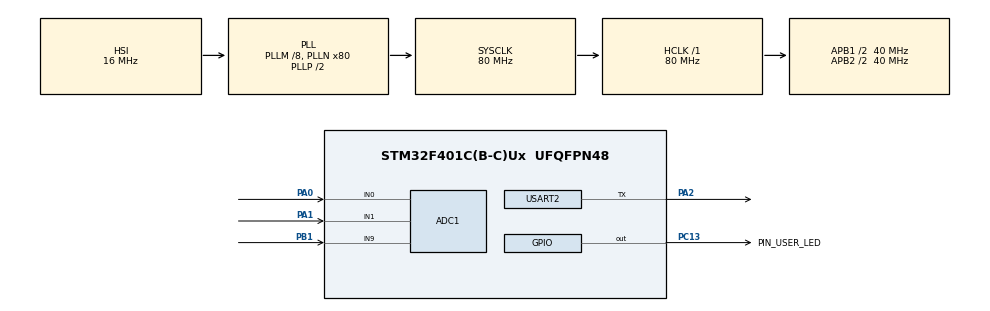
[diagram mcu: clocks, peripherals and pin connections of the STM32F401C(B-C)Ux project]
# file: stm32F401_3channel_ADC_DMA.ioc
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ADC1.Channel-0\#ChannelRegularConversion=ADC_CHANNEL_0
ADC1.Channel-1\#ChannelRegularConversion=ADC_CHANNEL_1
ADC1.Channel-2\#ChannelRegularConversion=ADC_CHANNEL_9
ADC1.Channel-3\#ChannelRegularConversion=ADC_CHANNEL_TEMPSENSOR
ADC1.ClockPrescaler=ADC_CLOCK_SYNC_PCLK_DIV4
ADC1.ContinuousConvMode=ENABLE
ADC1.DMAContinuousRequests=ENABLE
ADC1.EOCSelection=ADC_EOC_SEQ_CONV
ADC1.NbrOfConversion=4
ADC1.NbrOfConversionFlag=1
ADC1.Rank-0\#ChannelRegularConversion=1
ADC1.Rank-1\#ChannelRegularConversion=2
ADC1.Rank-2\#ChannelRegularConversion=3
ADC1.Rank-3\#ChannelRegularConversion=4
ADC1.SamplingTime-0\#ChannelRegularConversion=ADC_SAMPLETIME_28CYCLES
ADC1.SamplingTime-1\#ChannelRegularConversion=ADC_SAMPLETIME_28CYCLES
ADC1.SamplingTime-2\#ChannelRegularConversion=ADC_SAMPLETIME_28CYCLES
ADC1.SamplingTime-3\#ChannelRegularConversion=ADC_SAMPLETIME_112CYCLES
ADC1.master=1
Dma.ADC1.0.Direction=DMA_PERIPH_TO_MEMORY
Dma.ADC1.0.FIFOMode=DMA_FIFOMODE_DISABLE
Dma.ADC1.0.Instance=DMA2_Stream0
Dma.ADC1.0.MemDataAlignment=DMA_MDATAALIGN_HALFWORD
Dma.ADC1.0.MemInc=DMA_MINC_ENABLE
Dma.ADC1.0.Mode=DMA_CIRCULAR
Dma.ADC1.0.PeriphDataAlignment=DMA_PDATAALIGN_HALFWORD
Dma.ADC1.0.PeriphInc=DMA_PINC_DISABLE
Dma.ADC1.0.Priority=DMA_PRIORITY_LOW
Dma.Request0=ADC1
Mcu.Family=STM32F4
Mcu.Name=STM32F401C(B-C)Ux
Mcu.Package=UFQFPN48
NVIC.DMA2_Stream0_IRQn=true\:0\:0\:false\:false\:true\:false\:true\:true
NVIC.PriorityGroup=NVIC_PRIORITYGROUP_4
PA0-WKUP.Signal=ADCx_IN0
PA1.Signal=ADCx_IN1
PA13.Mode=Serial_Wire
PA13.Signal=SYS_JTMS-SWDIO
PA14.Mode=Serial_Wire
PA14.Signal=SYS_JTCK-SWCLK
PA2.Mode=Half_duplex(single_wire_mode)
PA2.Signal=USART2_TX
PB1.Signal=ADCx_IN9
PC13-ANTI_TAMP.GPIO_Label=PIN_USER_LED
PC13-ANTI_TAMP.Signal=GPIO_Output
ProjectManager.HeapSize=0x200
ProjectManager.StackSize=0x400
ProjectManager.TargetToolchain=STM32CubeIDE
RCC.48MHZClocksFreq_Value=40000000
RCC.AHBFreq_Value=80000000
RCC.APB1CLKDivider=RCC_HCLK_DIV2
RCC.APB1Freq_Value=40000000
RCC.APB1TimFreq_Value=80000000
RCC.APB2CLKDivider=RCC_HCLK_DIV2
RCC.APB2Freq_Value=40000000
RCC.APB2TimFreq_Value=80000000
RCC.CortexFreq_Value=80000000
RCC.HCLKFreq_Value=80000000
RCC.HSE_VALUE=25000000
RCC.HSI_VALUE=16000000
RCC.LSE_VALUE=32768
RCC.PLLM=8
RCC.PLLN=80
RCC.SYSCLKFreq_VALUE=80000000
RCC.SYSCLKSource=RCC_SYSCLKSOURCE_PLLCLK
RCC.VCOOutputFreq_Value=160000000
SH.ADCx_IN0.0=ADC1_IN0,IN0
SH.ADCx_IN1.0=ADC1_IN1,IN1
SH.ADCx_IN9.0=ADC1_IN9,IN9
USART2.Mode=MODE_TX
USART2.Parity=PARITY_EVEN
USART2.VirtualMode=VM_ASYNC
VP_ADC1_TempSens_Input.Mode=IN-TempSens
board=custom

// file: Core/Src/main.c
/* USER CODE BEGIN Header */

// connect pin PA0 to GND, PA1 to half of 3.3V (10K and 10K), PA4 to 3.3V.
// these are 3 external ADC input channels.
// the internal temp sensor is the 4th ADC channel.
/**
 ******************************************************************************
 * @file           : main.c
 * @brief          : Main program body
 ******************************************************************************
 * @attention
 *
 * Copyright (c) 2022 STMicroelectronics.
 * All rights reserved.
 *
 * This software is licensed under terms that can be found in the LICENSE file
 * in the root directory of this software component.
 * If no LICENSE file comes with this software, it is provided AS-IS.
 *
 ******************************************************************************
 */
/* USER CODE END Header */
#include "main.h"

ADC_HandleTypeDef hadc1;
DMA_HandleTypeDef hdma_adc1;

UART_HandleTypeDef huart2;

void SystemClock_Config(void);
static void MX_GPIO_Init(void);
static void MX_DMA_Init(void);
static void MX_ADC1_Init(void);
static void MX_USART2_UART_Init(void);

/* USER CODE BEGIN 0 */

/* Private function prototypes -----------------------------------------------*/
#ifdef __GNUC__
/* With GCC, small printf (option LD Linker->Libraries->Small printf
 set to 'Yes') calls __io_putchar() */
#define PUTCHAR_PROTOTYPE int __io_putchar(int ch)
#else
#define PUTCHAR_PROTOTYPE int fputc(int ch, FILE *f)
#endif /* __GNUC__ */

//must have this to print in uart com port
PUTCHAR_PROTOTYPE {
	// Place your implementation of fputc here
	// e.g. write a character to the EVAL_COM1 and Loop until the end of transmission
	HAL_UART_Transmit(&huart2, (uint8_t*) &ch, 1, 0xFFFF);

	return ch;
}

#define ADC_BUF_LEN 4
uint16_t adc_buf[ADC_BUF_LEN];

// Called when first half of buffer is filled
void HAL_ADC_ConvCpltCallback(ADC_HandleTypeDef *hadc) {
	//HAL_GPIO_WritePin(GPIOC, PIN_USER_LED_Pin, GPIO_PIN_SET);
	//printf("HAL_ADC_ConvCpltCallback adc PA read  %hu\r\n",  adc_buf[0]);
	//printf("HAL_ADC_ConvCpltCallback\n\r");
	HAL_GPIO_WritePin(GPIOC, PIN_USER_LED_Pin, GPIO_PIN_RESET);
	show_adc_buf();
	HAL_GPIO_WritePin(GPIOC, PIN_USER_LED_Pin, GPIO_PIN_SET);

}

void HAL_ADC_ConvHalfCpltCallback(ADC_HandleTypeDef *hadc) {
	//HAL_GPIO_WritePin(GPIOC, PIN_USER_LED_Pin, GPIO_PIN_RESET);
	//printf("HAL_ADC_ConvHalfCpltCallback adc PA  read  %hu\r\n",  adc_buf[0]);

}

// only PA0, PA1, PA4 is defined as adc input channel.
// connect PA0 to GND, PA1 to mid point of 10K and 10K from 3.3V and GND, PA4 to 3.3V.
void select_ADC_Channel(uint32_t channel) {
	ADC_ChannelConfTypeDef sConfig = { 0 };
	/** Configure for the selected ADC regular channel its corresponding rank in the sequencer and its sample time.
	 */

	switch (channel) {
	case 0:
		channel = ADC_CHANNEL_0;
		break;
	case 1:
		channel = ADC_CHANNEL_1;
		break;
	case 2:
		channel = ADC_CHANNEL_4;
		break;
	default:
		return;
	}

	sConfig.Channel = channel;
	sConfig.Rank = 1;
	sConfig.SamplingTime = ADC_SAMPLETIME_84CYCLES;
	if (HAL_ADC_ConfigChannel(&hadc1, &sConfig) != HAL_OK) {
		Error_Handler();
	}

}

float adc_val_to_voltage(uint16_t adc_val) {
	float ADC_MAX = 4096.0;
	float Vref = 3.3;
	float adc_voltage = Vref * 1.0f * adc_val / ADC_MAX;
	return adc_voltage;
}

/*
 void HAL_TIM_PeriodElapsedCallback(TIM_HandleTypeDef *htim) {
 static GPIO_PinState led_val = 0;

 HAL_GPIO_WritePin(PIN_USER_LED_GPIO_Port, PIN_USER_LED_Pin, led_val);
 led_val = !led_val;

 }
 */

float adc_val_to_temp_sys(uint16_t adc_val) {

	float Vref = 3300;
	int temp = __LL_ADC_CALC_TEMPERATURE(Vref, adc_val, LL_ADC_RESOLUTION_12B);
	return temp;

}

float adc_val_to_temp(uint16_t adc_val) {
	const float V25 = 0.76, AVG_Slope = 0.002f;

	float adc_vol = adc_val_to_voltage(adc_val);
	float temp = (adc_vol - V25) / AVG_Slope + 25;
	return temp;
}

void show_adc_buf() {

	uint16_t temp_adc_val = adc_buf[3];
	// float temp = adc_val_to_temp(temp_adc_val );
	float temp = adc_val_to_temp(temp_adc_val );
	printf(" adc value: %u %u %u  %u  , temp: %.1f\n\r", adc_buf[0], adc_buf[1],
			adc_buf[2], adc_buf[3], temp);
	HAL_GPIO_WritePin(PIN_USER_LED_GPIO_Port, PIN_USER_LED_Pin, GPIO_PIN_SET);

}

/* USER CODE END 0 */

int main(void)
{
  /* USER CODE BEGIN 1 */
	memset(adc_buf, 0, ADC_BUF_LEN);
  /* USER CODE END 1 */

  /* MCU Configuration--------------------------------------------------------*/

  /* Reset of all peripherals, Initializes the Flash interface and the Systick. */
  HAL_Init();

  /* Configure the system clock */
  SystemClock_Config();

  /* Initialize all configured peripherals */
  MX_GPIO_Init();
  MX_DMA_Init();
  MX_ADC1_Init();
  MX_USART2_UART_Init();
  /* USER CODE BEGIN 2 */
	uint16_t *flashSizeF401Addr = (uint32_t*) 0x1FFF7A22;
	uint16_t flashSize = *flashSizeF401Addr;
  /* USER CODE END 2 */

  /* Infinite loop */
  /* USER CODE BEGIN WHILE */
	int channel = 0;
	if ( HAL_OK!= HAL_ADC_Start_DMA(&hadc1, (uint16_t*) adc_buf, ADC_BUF_LEN))
	{
       Error_Handler();
	}
	HAL_GPIO_WritePin(PIN_USER_LED_GPIO_Port, PIN_USER_LED_Pin, GPIO_PIN_SET);
	printf("about to while(1)\r\n");
	while (1) {

//printf("adc PA %i  read  %hu\r\n", channel, adc_buf[0]);

		// can also use USB as virtual com port to print: CDC_Transmit_FS((uint8_t *) "Hello World CDC !\n", 13); //We add this line for serial comm
		//HAL_GPIO_WritePin(PIN_USER_LED_GPIO_Port, PIN_USER_LED_Pin, GPIO_PIN_RESET);

		HAL_Delay(1000);
		//uint16_t temp_adc_val = adc_buf[3];
		/*float temp = 0;
		const float V25 = 0.76, AVG_Slope = 0.002f;

		float adc_vol = adc_val_to_voltage(temp_adc_val);
		temp = (adc_vol - V25) / AVG_Slope + 25;
		*/
		//float temp = adc_val_to_temp(temp_adc_val);
		//printf(" adc value: %u %u %u  %u  , temp: %.1f\n\r", adc_buf[0],
		//		adc_buf[1], adc_buf[2], adc_buf[3], temp);

		//HAL_GPIO_WritePin(PIN_USER_LED_GPIO_Port, PIN_USER_LED_Pin,GPIO_PIN_SET);
		HAL_Delay(1000);
		//channel++;
    /* USER CODE END WHILE */

	}
}

void SystemClock_Config(void)
{
  RCC_OscInitTypeDef RCC_OscInitStruct = {0};
  RCC_ClkInitTypeDef RCC_ClkInitStruct = {0};

  /** Configure the main internal regulator output voltage
  */
  __HAL_RCC_PWR_CLK_ENABLE();
  __HAL_PWR_VOLTAGESCALING_CONFIG(PWR_REGULATOR_VOLTAGE_SCALE2);

  /** Initializes the RCC Oscillators according to the specified parameters
  * in the RCC_OscInitTypeDef structure.
  */
  RCC_OscInitStruct.OscillatorType = RCC_OSCILLATORTYPE_HSI;
  RCC_OscInitStruct.HSIState = RCC_HSI_ON;
  RCC_OscInitStruct.HSICalibrationValue = RCC_HSICALIBRATION_DEFAULT;
  RCC_OscInitStruct.PLL.PLLState = RCC_PLL_ON;
  RCC_OscInitStruct.PLL.PLLSource = RCC_PLLSOURCE_HSI;
  RCC_OscInitStruct.PLL.PLLM = 8;
  RCC_OscInitStruct.PLL.PLLN = 80;
  RCC_OscInitStruct.PLL.PLLP = RCC_PLLP_DIV2;
  RCC_OscInitStruct.PLL.PLLQ = 4;
  if (HAL_RCC_OscConfig(&RCC_OscInitStruct) != HAL_OK)
  {
    Error_Handler();
  }

  /** Initializes the CPU, AHB and APB buses clocks
  */
  RCC_ClkInitStruct.ClockType = RCC_CLOCKTYPE_HCLK|RCC_CLOCKTYPE_SYSCLK
                              |RCC_CLOCKTYPE_PCLK1|RCC_CLOCKTYPE_PCLK2;
  RCC_ClkInitStruct.SYSCLKSource = RCC_SYSCLKSOURCE_PLLCLK;
  RCC_ClkInitStruct.AHBCLKDivider = RCC_SYSCLK_DIV1;
  RCC_ClkInitStruct.APB1CLKDivider = RCC_HCLK_DIV2;
  RCC_ClkInitStruct.APB2CLKDivider = RCC_HCLK_DIV2;

  if (HAL_RCC_ClockConfig(&RCC_ClkInitStruct, FLASH_LATENCY_2) != HAL_OK)
  {
    Error_Handler();
  }
}

static void MX_ADC1_Init(void)
{

  ADC_ChannelConfTypeDef sConfig = {0};

  /** Configure the global features of the ADC (Clock, Resolution, Data Alignment and number of conversion)
  */
  hadc1.Instance = ADC1;
  hadc1.Init.ClockPrescaler = ADC_CLOCK_SYNC_PCLK_DIV4;
  hadc1.Init.Resolution = ADC_RESOLUTION_12B;
  hadc1.Init.ScanConvMode = ENABLE;
  hadc1.Init.ContinuousConvMode = ENABLE;
  hadc1.Init.DiscontinuousConvMode = DISABLE;
  hadc1.Init.ExternalTrigConvEdge = ADC_EXTERNALTRIGCONVEDGE_NONE;
  hadc1.Init.ExternalTrigConv = ADC_SOFTWARE_START;
  hadc1.Init.DataAlign = ADC_DATAALIGN_RIGHT;
  hadc1.Init.NbrOfConversion = 4;
  hadc1.Init.DMAContinuousRequests = ENABLE;
  hadc1.Init.EOCSelection = ADC_EOC_SEQ_CONV;
  if (HAL_ADC_Init(&hadc1) != HAL_OK)
  {
    Error_Handler();
  }

  /** Configure for the selected ADC regular channel its corresponding rank in the sequencer and its sample time.
  */
  sConfig.Channel = ADC_CHANNEL_0;
  sConfig.Rank = 1;
  sConfig.SamplingTime = ADC_SAMPLETIME_28CYCLES;
  if (HAL_ADC_ConfigChannel(&hadc1, &sConfig) != HAL_OK)
  {
    Error_Handler();
  }

  /** Configure for the selected ADC regular channel its corresponding rank in the sequencer and its sample time.
  */
  sConfig.Channel = ADC_CHANNEL_1;
  sConfig.Rank = 2;
  if (HAL_ADC_ConfigChannel(&hadc1, &sConfig) != HAL_OK)
  {
    Error_Handler();
  }

  /** Configure for the selected ADC regular channel its corresponding rank in the sequencer and its sample time.
  */
  sConfig.Channel = ADC_CHANNEL_9;
  sConfig.Rank = 3;
  if (HAL_ADC_ConfigChannel(&hadc1, &sConfig) != HAL_OK)
  {
    Error_Handler();
  }

  /** Configure for the selected ADC regular channel its corresponding rank in the sequencer and its sample time.
  */
  sConfig.Channel = ADC_CHANNEL_TEMPSENSOR;
  sConfig.Rank = 4;
  sConfig.SamplingTime = ADC_SAMPLETIME_112CYCLES;
  if (HAL_ADC_ConfigChannel(&hadc1, &sConfig) != HAL_OK)
  {
    Error_Handler();
  }

}

static void MX_USART2_UART_Init(void)
{

  huart2.Instance = USART2;
  huart2.Init.BaudRate = 115200;
  huart2.Init.WordLength = UART_WORDLENGTH_8B;
  huart2.Init.StopBits = UART_STOPBITS_1;
  huart2.Init.Parity = UART_PARITY_EVEN;
  huart2.Init.Mode = UART_MODE_TX;
  huart2.Init.HwFlowCtl = UART_HWCONTROL_NONE;
  huart2.Init.OverSampling = UART_OVERSAMPLING_16;
  if (HAL_HalfDuplex_Init(&huart2) != HAL_OK)
  {
    Error_Handler();
  }

}

static void MX_DMA_Init(void)
{

  /* DMA controller clock enable */
  __HAL_RCC_DMA2_CLK_ENABLE();

  /* DMA interrupt init */
  /* DMA2_Stream0_IRQn interrupt configuration */
  HAL_NVIC_SetPriority(DMA2_Stream0_IRQn, 0, 0);
  HAL_NVIC_EnableIRQ(DMA2_Stream0_IRQn);

}

static void MX_GPIO_Init(void)
{
  GPIO_InitTypeDef GPIO_InitStruct = {0};

  /* GPIO Ports Clock Enable */
  __HAL_RCC_GPIOC_CLK_ENABLE();
  __HAL_RCC_GPIOA_CLK_ENABLE();
  __HAL_RCC_GPIOB_CLK_ENABLE();

  /*Configure GPIO pin Output Level */
  HAL_GPIO_WritePin(PIN_USER_LED_GPIO_Port, PIN_USER_LED_Pin, GPIO_PIN_RESET);

  /*Configure GPIO pin : PIN_USER_LED_Pin */
  GPIO_InitStruct.Pin = PIN_USER_LED_Pin;
  GPIO_InitStruct.Mode = GPIO_MODE_OUTPUT_PP;
  GPIO_InitStruct.Pull = GPIO_NOPULL;
  GPIO_InitStruct.Speed = GPIO_SPEED_FREQ_LOW;
  HAL_GPIO_Init(PIN_USER_LED_GPIO_Port, &GPIO_InitStruct);

}

void Error_Handler(void)
{
  /* USER CODE BEGIN Error_Handler_Debug */
	/* User can add his own implementation to report the HAL error return state */
	printf("error handler");
	__disable_irq();
	while (1) {
	}
  /* USER CODE END Error_Handler_Debug */
}
